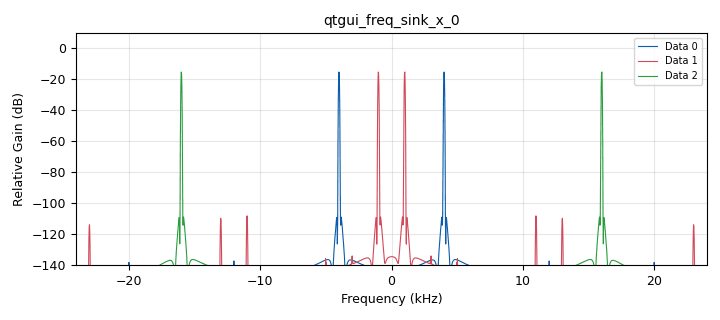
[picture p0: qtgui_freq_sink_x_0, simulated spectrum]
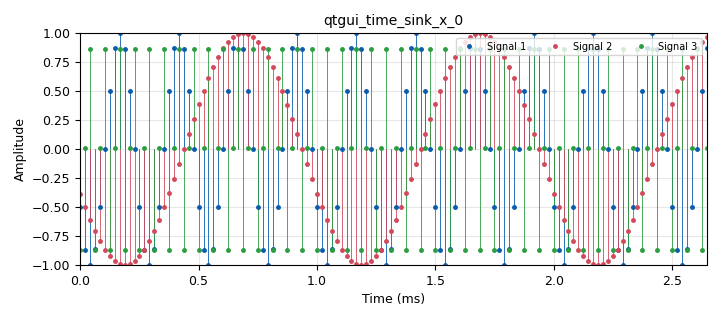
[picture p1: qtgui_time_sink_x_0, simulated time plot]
options:
  parameters:
    author: Maria_Valenzuela_Johan_Castillo_J1E_G4
    generate_options: qt_gui
    id: lab_comu2
    output_language: python
    title: frecuencia_muestreo
  states: {}

blocks:
- name: freq
  id: variable_qtgui_range
  parameters:
    label: Frequency
    start: '1000'
    step: '1000'
    stop: '40000'
    value: '4000'
  states: {}
- name: samp_rate
  id: variable
  parameters:
    value: '48000'
  states: {}
- name: analog_sig_source_x_0
  id: analog_sig_source_x
  parameters:
    amp: '1'
    freq: freq
    offset: '0'
    phase: '0'
    samp_rate: samp_rate
    type: float
    waveform: analog.GR_COS_WAVE
  states: {}
- name: analog_sig_source_x_0_0
  id: analog_sig_source_x
  parameters:
    amp: '1'
    freq: freq
    offset: '0'
    phase: '0'
    samp_rate: samp_rate
    type: float
    waveform: analog.GR_COS_WAVE
  states: {}
- name: analog_sig_source_x_0_0_0
  id: analog_sig_source_x
  parameters:
    amp: '1'
    freq: freq
    offset: '0'
    phase: '0'
    samp_rate: samp_rate
    type: float
    waveform: analog.GR_COS_WAVE
  states: {}
- name: blocks_throttle_0
  id: blocks_throttle
  parameters:
    samples_per_second: samp_rate
    type: float
  states: {}
- name: qtgui_freq_sink_x_0
  id: qtgui_freq_sink_x
  parameters:
    bw: samp_rate
    fc: '0'
    fftsize: '2048'
    nconnections: '3'
    type: float
  states: {}
- name: qtgui_time_sink_x_0
  id: qtgui_time_sink_x
  parameters:
    nconnections: '3'
    size: '128'
    srate: samp_rate
    stemplot: 'True'
    type: float
  states: {}
- name: rational_resampler_xxx_0
  id: rational_resampler_xxx
  parameters:
    decim: '2'
    interp: '2'
    type: fff
  states: {}
- name: rational_resampler_xxx_0_0
  id: rational_resampler_xxx
  parameters:
    decim: '2'
    interp: '8'
    type: fff
  states: {}
- name: rational_resampler_xxx_0_0_0
  id: rational_resampler_xxx
  parameters:
    decim: '8'
    interp: '2'
    type: fff
  states: {}

connections:
- [analog_sig_source_x_0, '0', rational_resampler_xxx_0, '0']
- [analog_sig_source_x_0_0, '0', rational_resampler_xxx_0_0, '0']
- [analog_sig_source_x_0_0_0, '0', rational_resampler_xxx_0_0_0, '0']
- [blocks_throttle_0, '0', qtgui_freq_sink_x_0, '0']
- [blocks_throttle_0, '0', qtgui_time_sink_x_0, '0']
- [rational_resampler_xxx_0, '0', blocks_throttle_0, '0']
- [rational_resampler_xxx_0_0, '0', qtgui_freq_sink_x_0, '1']
- [rational_resampler_xxx_0_0, '0', qtgui_time_sink_x_0, '1']
- [rational_resampler_xxx_0_0_0, '0', qtgui_freq_sink_x_0, '2']
- [rational_resampler_xxx_0_0_0, '0', qtgui_time_sink_x_0, '2']

metadata:
  file_format: 1
  grc_version: 3.10.5.1
